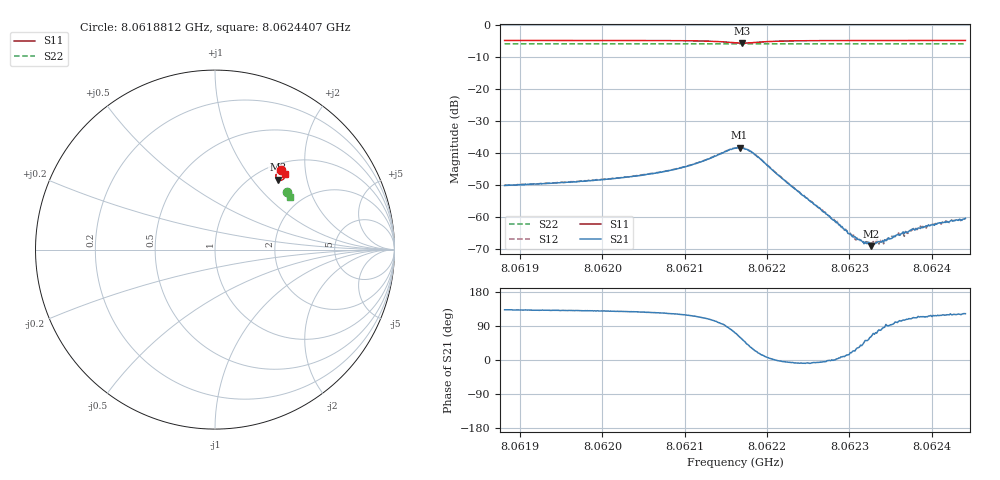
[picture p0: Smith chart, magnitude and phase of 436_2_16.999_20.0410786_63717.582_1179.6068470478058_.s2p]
#  HZ  S  RI  R  50.00
! Rohde & Schwarz Vector Network Analyzer
! Rohde-Schwarz,ZNB20-2Port,1311601062101988,3.16
! Created: UTC 3/20/2024, 11:11:39 PM
! freq[Hz]  re:S11  im:S11  re:S21  im:S21  re:S12  im:S12  re:S22  im:S22
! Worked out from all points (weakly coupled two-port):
!   401 points, 8.0618812 GHz to 8.0624407 GHz, reference 50 ohm
!   highest |S21| = -38.22 dB at 8.0621666 GHz (marker M1); lowest = -69.0 dB at 8.062326 GHz (marker M2)
!   lowest |S11| = -5.6 dB at 8.0621694 GHz (marker M3), VSWR 3.20, Z = 63 + j67.8 ohm
!   |S11| at or under -10 dB: nowhere
!   |S22| runs from -5.9 to -5.8 dB; largest |S21 - S12| = 0.00091
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8.06188122e9  0.3693 0.4422  -0.00212 0.00232  -0.00202 0.00249  0.3998 0.3185
8.06197494e9  0.3761 0.436  -0.00237 0.0028  -0.00219 0.00294  0.4034 0.3137
8.06203229e9  0.3809 0.4308  -0.00258 0.00338  -0.00241 0.00356  0.4052 0.3107
8.06206866e9  0.3843 0.4259  -0.00284 0.00413  -0.0026 0.00434  0.4069 0.309
8.06211342e9  0.3884 0.4144  -0.00293 0.00625  -0.00258 0.0065  0.4083 0.306
8.06216098e9  0.3639 0.3857  0.00376 0.0114  0.00446 0.0112  0.4085 0.3028
8.06216658e9  0.354 0.3875  0.00597 0.0107  0.00671 0.0103  0.4082 0.3028
8.06216937e9  0.3491 0.3901  0.00694 0.0101  0.00738 0.00955  0.4082 0.303
8.06218336e9  0.3387 0.4124  0.00891 0.0047  0.00922 0.00421  0.4084 0.3035
8.0622547e9  0.3717 0.4345  0.0017 -0.000217  0.0017 -0.000357  0.4126 0.3004
8.06230086e9  0.3797 0.4312  0.000516 0.000182  0.000555 0.000125  0.4145 0.2981
8.06230925e9  0.3808 0.4306  0.000393 0.000243  0.000431 0.0002  0.4149 0.2976
8.06231905e9  0.3819 0.43  0.00026 0.000326  0.000288 0.000277  0.4152 0.297
8.06232604e9  0.3827 0.4295  0.000172 0.000311  0.000209 0.000343  0.4154 0.2967
8.06233863e9  0.3839 0.4286  7.18e-05 0.000404  5.18e-05 0.000435  0.4158 0.2961
8.06234842e9  0.3848 0.428  -1.05e-05 0.00046  2.02e-05 0.000473  0.4163 0.2955
8.06236241e9  0.3861 0.4271  -0.00012 0.000539  -0.000106 0.000538  0.4167 0.2948
8.0623694e9  0.3867 0.4268  -0.000178 0.000564  -0.000128 0.000554  0.4169 0.2945
8.062375e9  0.3872 0.4263  -0.000208 0.000606  -0.000174 0.000592  0.4173 0.294
8.06238899e9  0.3883 0.4252  -0.000285 0.000628  -0.000233 0.000685  0.4177 0.2934
8.06240997e9  0.39 0.4241  -0.000386 0.00073  -0.000339 0.000753  0.4184 0.2923
8.06244074e9  0.3921 0.4223  -0.000515 0.000815  -0.000449 0.000835  0.4195 0.2908
